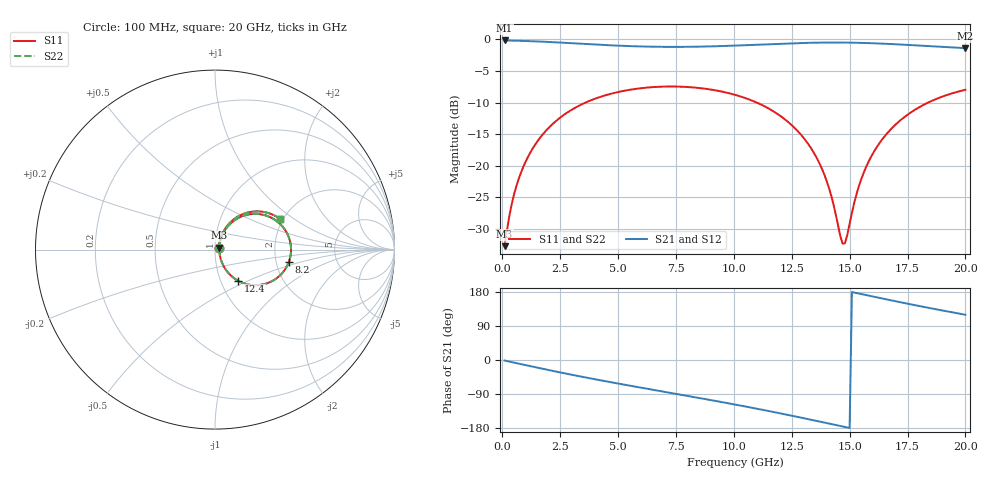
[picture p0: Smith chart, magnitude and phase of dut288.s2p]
! Touchstone file exported from HFSS 2026.1.0
!  File:  C:/ffzhzh/LocalFiles/Ansys_Project_Files/temp_train_TSV_RDL_288_1783086818_37948.aedt
!  Generated:  10:03:52 PM Jul  3, 2026
!  Design:  TSV_RDL
!  Project:  temp_train_TSV_RDL_288_1783086818_37948
! Variables:
!  h_bsmrdl = 5.33um
!  h_ox = 20um
!  h_rdl = 5um
!  h_sub = 54.14um
!  h_tmrdl = 3.58um
!  h_tsv = 54.14um
!  h_via = 3um
!  l_bsmrdl = 980.89um
!  l_sub = 3986.08um
!  l_tmrdl = 142.05um
!  m_sub = 200um
!  pitch = 32.46um
!  r_tsv = 12.26um
!  s_tmrdl = 10um
!  w_bsmrdl = 13.81um
!  w_sub = 500um
!  w_tmrdl = 11.26um
!  x_tsv_center1 = 147.68um
!  x_tsv_center2 = 1142.38um
!  x_tsv_center3 = 1295.69um
!  x_tsv_center4 = 2290.39um
!  x_tsv_center5 = 2443.7um
!  x_tsv_center6 = 3438.4um
# GHz S MA R 50.000000
! Terminal data exported
! Port[1] = TM_RDL1_1_T1
! Port[2] = TM_RDL5_1_T1
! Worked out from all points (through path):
!   200 points, 100 MHz to 20 GHz, reference 50 ohm
!   highest |S21| = -0.18 dB at 100 MHz (marker M1); lowest = -1.4 dB at 20 GHz (marker M2)
!   group delay of S21, straight-line fit = 33 ps
!   lowest |S11| = -32.7 dB at 100 MHz (marker M3), VSWR 1.05, Z = 52.1 + j1.15 ohm
!   |S11| at or under -10 dB: start of sweep to 3.593 GHz; 10.99 GHz to 18.39 GHz (7.4 GHz wide, 50.4 % of centre)
!   |S22| runs from -32.7 to -7.5 dB; largest |S21 - S12| = 1.7e-14
!   S11 on the Smith chart (normalised r, x): 100 MHz: 1.04, +0.02; 8.2 GHz: 2.35, -0.39; 12.4 GHz: 1.21, -0.44; 20 GHz: 1.91, +0.79
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0.1  0.02318 28.4  0.9798 -1.4  0.9798 -1.4  0.02318 28.4
! Gamma 0 0 0 0
! Port Impedance 50 0 50 0
0.3  0.03972 53.2  0.978 -4.2  0.978 -4.2  0.03972 53.2
0.5  0.05871 60.5  0.976 -6.8  0.976 -6.8  0.05871 60.5
0.8  0.08779 63.5  0.9728 -10.8  0.9728 -10.8  0.08779 63.5
1.2  0.1264 62.7  0.9677 -16.1  0.9677 -16.1  0.1264 62.7
2.2  0.2164 53.9  0.9494 -29.0  0.9494 -29.0  0.2164 53.9
3.5  0.3106 39.7  0.9206 -44.9  0.9206 -44.9  0.3106 39.7
5.1  0.3868 22.5  0.8898 -63.3  0.8898 -63.3  0.3868 22.5
6.8  0.4219 4.9  0.8727 -81.8  0.8727 -81.8  0.4219 4.9
8.2  0.4173 -9.4  0.8734 -96.9  0.8734 -96.9  0.4173 -9.4
10.1  0.3622 -29.2  0.8931 -118.1  0.8931 -118.1  0.3622 -29.2
12.4  0.2178 -53.3  0.929 -145.7  0.929 -145.7  0.2178 -53.3
13.4  0.1319 -61.5  0.94 -158.5  0.94 -158.5  0.1319 -61.4
14.1  0.06758 -60.1  0.9435 -167.6  0.9435 -167.6  0.06766 -59.9
14.7  0.02421 -8.5  0.9432 -175.5  0.9432 -175.5  0.0245 -8.4
14.8  0.02448 13.6  0.9428 -176.8  0.9428 -176.8  0.02478 13.5
15.3  0.05989 60.6  0.9396 176.7  0.9396 176.7  0.06004 60.3
15.6  0.08751 64.5  0.9366 172.7  0.9366 172.7  0.08762 64.3
16.1  0.134 63.8  0.93 166.3  0.93 166.3  0.134 63.6
16.7  0.1877 59.3  0.9199 158.6  0.9199 158.6  0.1878 59.2
18.1  0.297 45.4  0.8907 141.3  0.8907 141.3  0.2971 45.3
20  0.3992 25.7  0.8524 119.4  0.8524 119.4  0.3992 25.6
